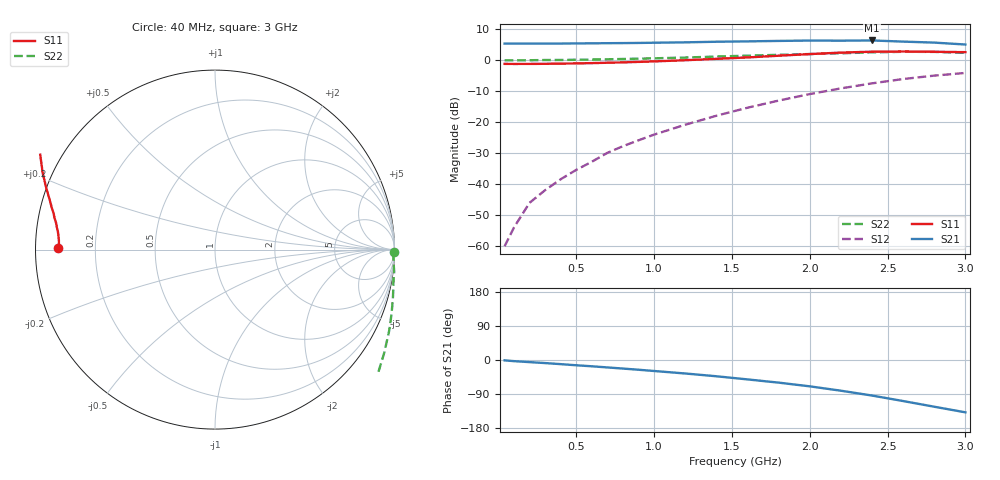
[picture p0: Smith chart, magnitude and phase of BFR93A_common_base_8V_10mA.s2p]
! Filename:  BFR93ACF.S2P  Version:  2.0
! Philips part #: BFR93A  Date: Jul 1990
! Bias condition: Vce=8V, Ic=10mA
! COMMON BASE
#  MHz  S  MA  R  50
! Freq  S11  S21  S12  S22
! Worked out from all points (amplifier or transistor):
!   21 points, 40 MHz to 3 GHz, reference 50 ohm
!   highest |S21| = 6.4 dB at 2.4 GHz (marker M1)
!   |S21| within 3 dB of that: start of sweep to end of sweep
!   unconditionally stable (mu >= 1): start of sweep to 43.04 MHz
!   at 300 MHz: K = -0.60, MSG = 23.7 dB, |S12| = -41.9 dB
!   at 1 GHz: K = -0.92, MSG = 14.8 dB, |S12| = -24.0 dB
!   at 3 GHz: K = -0.72, MSG = 4.6 dB, |S12| = -4.1 dB
40  0.872 179.3  1.854 -1.0  0.001 50.9  0.996 -0.8
100  0.87 178.1  1.853 -3.0  0.002 81.4  0.995 -2.5
200  0.871 176.7  1.856 -5.6  0.005 105.3  0.999 -4.7
300  0.875 175.2  1.855 -8.1  0.008 122.1  1.006 -7.1
400  0.88 173.7  1.856 -10.9  0.012 127.9  1.009 -9.6
500  0.888 172.3  1.865 -13.9  0.017 133.7  1.016 -12.1
600  0.897 170.6  1.872 -16.6  0.023 136.7  1.025 -14.6
700  0.91 169.0  1.881 -19.6  0.032 138.8  1.035 -17.3
800  0.922 167.3  1.888 -22.6  0.041 141.0  1.046 -19.9
900  0.939 165.6  1.898 -25.7  0.051 141.9  1.058 -22.5
1000  0.956 163.8  1.914 -29.0  0.063 142.1  1.072 -25.3
1200  0.999 160.1  1.941 -35.6  0.091 141.9  1.104 -31.3
1400  1.051 156.0  1.985 -42.9  0.127 139.7  1.144 -37.7
1600  1.108 151.5  2.012 -51.2  0.171 137.3  1.184 -44.6
1800  1.181 146.1  2.046 -59.7  0.223 133.0  1.221 -52.5
2000  1.255 140.3  2.074 -69.5  0.284 127.8  1.257 -61.5
2200  1.326 134.2  2.065 -81.0  0.351 121.7  1.292 -72.2
2400  1.371 126.7  2.082 -93.8  0.423 114.1  1.338 -83.7
2600  1.383 118.2  1.995 -108.3  0.497 106.0  1.366 -95.2
2800  1.367 108.4  1.922 -123.3  0.564 96.9  1.361 -106.8
3000  1.348 98.6  1.791 -138.1  0.623 89.2  1.312 -118.1
